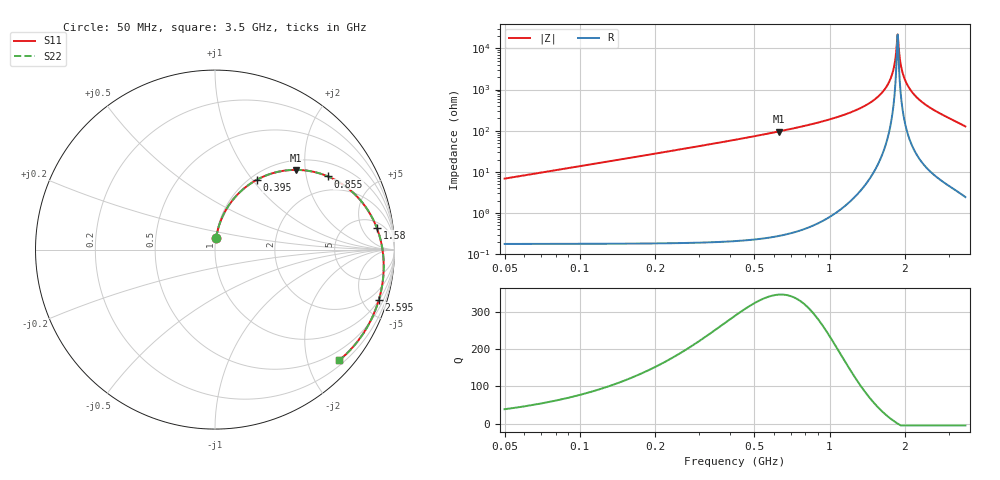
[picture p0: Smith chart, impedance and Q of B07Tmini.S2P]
! Coilcraft B07T_ Mini Spring Air Core Inductor
! 30 May 2003
# MHZ S MA R 50
!Freq  MagS11  AngS11  MagS21  AngS21  MagS12  AngS12  MagS22  AngS22
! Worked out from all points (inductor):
!   691 points, 50 MHz to 3.5 GHz, reference 50 ohm
!   read as 1/Y11, port 2 shorted: L = 21.8 nH near 65 MHz
!   highest Q = 346 at 625 MHz (marker M1), where L = 24.4 nH
!   self-resonance near 1.87 GHz
!   S11 on the Smith chart (normalised r, x): 50 MHz: 1.00, +0.13; 395 MHz: 1.07, +1.06; 855 MHz: 1.44, +2.69; 1.58 GHz: 7, +10; 2.595 GHz: 1.02, -6.49; 3.5 GHz: 0.30, -2.59
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50  0.06422 84.3  0.9962 -4.2  0.9962 -4.2  0.06425 84.3
85  0.1088 82.0  0.9923 -7.1  0.9923 -7.1  0.1088 82.0
105  0.1339 80.6  0.9892 -8.7  0.9892 -8.7  0.134 80.6
135  0.1713 78.3  0.9835 -11.1  0.9835 -11.1  0.1713 78.3
175  0.2199 75.2  0.9738 -14.4  0.9738 -14.4  0.22 75.2
220  0.2729 71.7  0.9603 -17.9  0.9603 -17.9  0.273 71.7
270  0.3291 67.9  0.9426 -21.8  0.9426 -21.8  0.3292 67.9
395  0.4556 58.9  0.8885 -30.9  0.8885 -30.9  0.4558 58.9
505  0.5491 51.7  0.834 -38.1  0.834 -38.1  0.5494 51.7
625  0.6331 44.6  0.7723 -45.3  0.7723 -45.3  0.6334 44.6
855  0.75 32.9  0.6592 -56.9  0.6592 -56.9  0.7504 32.9
1020  0.8073 25.9  0.5874 -63.9  0.5874 -63.9  0.8076 25.9
1200  0.8522 19.3  0.5193 -70.5  0.5193 -70.5  0.8526 19.3
1380  0.8843 13.4  0.4614 -76.2  0.4614 -76.2  0.8847 13.4
1580  0.9096 7.6  0.4078 -81.9  0.4078 -81.9  0.91 7.6
1775  0.9268 2.4  0.3649 -87.0  0.3649 -87.0  0.9272 2.4
2055  0.9427 -4.5  0.3177 -93.6  0.3177 -93.6  0.9431 -4.5
2350  0.9517 -11.4  0.2843 -100.1  0.2843 -100.1  0.9521 -11.4
2595  0.9547 -17.1  0.2691 -105.4  0.2691 -105.4  0.9551 -17.1
2925  0.9529 -25.1  0.2679 -113.0  0.2679 -113.0  0.9533 -25.1
3205  0.9451 -32.6  0.288 -120.2  0.288 -120.2  0.9454 -32.6
3500  0.9265 -41.8  0.3369 -129.4  0.3369 -129.4  0.9269 -41.8
